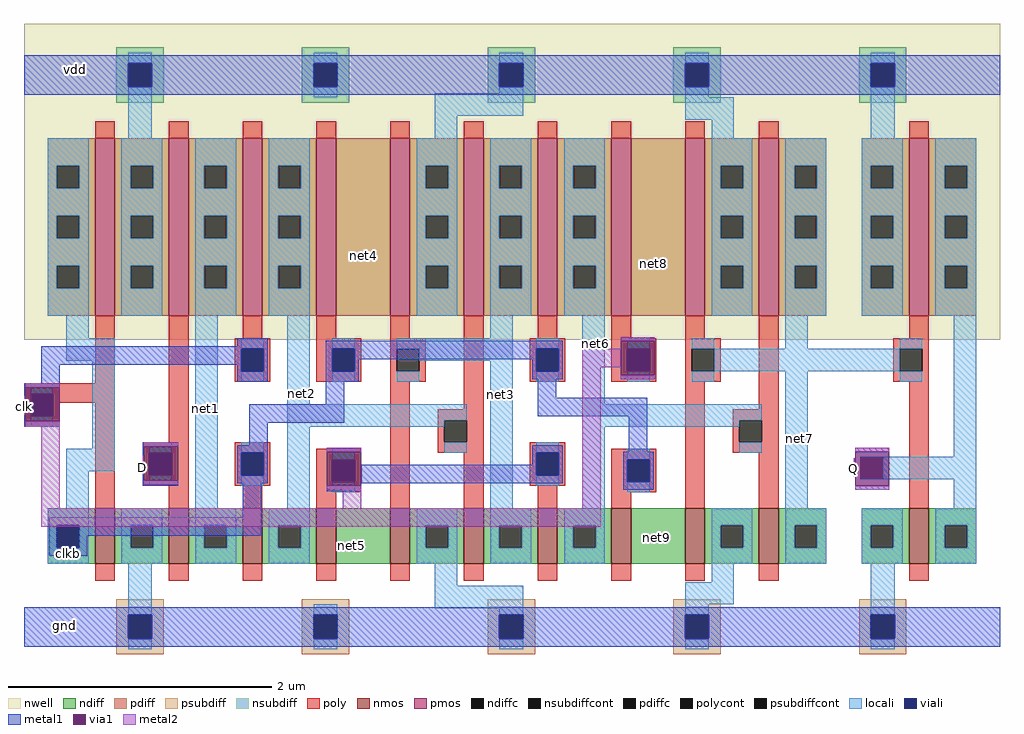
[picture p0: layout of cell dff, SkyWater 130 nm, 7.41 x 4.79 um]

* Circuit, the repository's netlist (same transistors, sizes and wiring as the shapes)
* SPICE3 file created from dff.ext - technology: sky130A


.subckt dff D Q clk vdd gnd
X0 vdd net3 net4 vdd sky130_fd_pr__pfet_01v8 ad=0 pd=0 as=0 ps=0 w=1.35 l=0.15
X1 gnd net3 net5 gnd sky130_fd_pr__nfet_01v8 ad=0 pd=0 as=0 ps=0 w=0.42 l=0.15
X2 net9 clkb net6 gnd sky130_fd_pr__nfet_01v8 ad=0 pd=0 as=0 ps=0 w=0.42 l=0.15
X3 gnd net7 net9 gnd sky130_fd_pr__nfet_01v8 ad=0 pd=0 as=0 ps=0 w=0.42 l=0.15
X4 gnd clk clkb gnd sky130_fd_pr__nfet_01v8 ad=0 pd=0 as=0 ps=0 w=0.42 l=0.15
X5 net6 clk net3 gnd sky130_fd_pr__nfet_01v8 ad=0 pd=0 as=0 ps=0 w=0.42 l=0.15
X6 net3 net2 gnd gnd sky130_fd_pr__nfet_01v8 ad=0 pd=0 as=0 ps=0 w=0.42 l=0.15
X7 net4 clkb net2 vdd sky130_fd_pr__pfet_01v8 ad=0 pd=0 as=0 ps=0 w=1.35 l=0.15
X8 net7 net6 vdd vdd sky130_fd_pr__pfet_01v8 ad=0 pd=0 as=0 ps=0 w=1.35 l=0.15
X9 net7 net6 gnd gnd sky130_fd_pr__nfet_01v8 ad=0 pd=0 as=0 ps=0 w=0.42 l=0.15
X10 net1 D vdd vdd sky130_fd_pr__pfet_01v8 ad=0 pd=0 as=0 ps=0 w=1.35 l=0.15
X11 Q net7 vdd vdd sky130_fd_pr__pfet_01v8 ad=0 pd=0 as=0 ps=0 w=1.35 l=0.15
X12 vdd clk clkb vdd sky130_fd_pr__pfet_01v8 ad=0 pd=0 as=0 ps=0 w=1.35 l=0.15
X13 net2 clk net1 vdd sky130_fd_pr__pfet_01v8 ad=0 pd=0 as=0 ps=0 w=1.35 l=0.15
X14 net8 clk net6 vdd sky130_fd_pr__pfet_01v8 ad=0 pd=0 as=0 ps=0 w=1.35 l=0.15
X15 vdd net7 net8 vdd sky130_fd_pr__pfet_01v8 ad=0 pd=0 as=0 ps=0 w=1.35 l=0.15
X16 net3 net2 vdd vdd sky130_fd_pr__pfet_01v8 ad=0 pd=0 as=0 ps=0 w=1.35 l=0.15
X17 net6 clkb net3 vdd sky130_fd_pr__pfet_01v8 ad=0 pd=0 as=0 ps=0 w=1.35 l=0.15
X18 Q net7 gnd gnd sky130_fd_pr__nfet_01v8 ad=0 pd=0 as=0 ps=0 w=0.42 l=0.15
X19 net5 clk net2 gnd sky130_fd_pr__nfet_01v8 ad=0 pd=0 as=0 ps=0 w=0.42 l=0.15
X20 net1 D gnd gnd sky130_fd_pr__nfet_01v8 ad=0 pd=0 as=0 ps=0 w=0.42 l=0.15
X21 net2 clkb net1 gnd sky130_fd_pr__nfet_01v8 ad=0 pd=0 as=0 ps=0 w=0.42 l=0.15
.ends

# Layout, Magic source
magic
tech sky130A
<< nwell >>
rect 0 218 741 458
<< nmos >>
rect 54 48 69 90
rect 110 48 125 90
rect 166 48 181 90
rect 222 48 237 90
rect 278 48 293 90
rect 334 48 349 90
rect 390 48 405 90
rect 446 48 461 90
rect 502 48 517 90
rect 558 48 573 90
rect 672 48 687 90
<< pmos >>
rect 54 236 69 371
rect 110 236 125 371
rect 166 236 181 371
rect 222 236 237 371
rect 278 236 293 371
rect 334 236 349 371
rect 390 236 405 371
rect 446 236 461 371
rect 502 236 517 371
rect 558 236 573 371
rect 672 236 687 371
<< ndiff >>
rect 18 77 54 90
rect 18 60 25 77
rect 42 60 54 77
rect 18 48 54 60
rect 69 77 110 90
rect 69 60 81 77
rect 98 60 110 77
rect 69 48 110 60
rect 125 77 166 90
rect 125 60 137 77
rect 154 60 166 77
rect 125 48 166 60
rect 181 77 222 90
rect 181 60 193 77
rect 210 60 222 77
rect 181 48 222 60
rect 237 48 278 90
rect 293 77 334 90
rect 293 60 305 77
rect 322 60 334 77
rect 293 48 334 60
rect 349 77 390 90
rect 349 60 361 77
rect 378 60 390 77
rect 349 48 390 60
rect 405 77 446 90
rect 405 60 417 77
rect 434 60 446 77
rect 405 48 446 60
rect 461 48 502 90
rect 517 77 558 90
rect 517 60 529 77
rect 546 60 558 77
rect 517 48 558 60
rect 573 77 609 90
rect 573 60 585 77
rect 602 60 609 77
rect 573 48 609 60
rect 636 77 672 90
rect 636 60 643 77
rect 660 60 672 77
rect 636 48 672 60
rect 687 77 723 90
rect 687 60 699 77
rect 716 60 723 77
rect 687 48 723 60
<< pdiff >>
rect 18 350 54 371
rect 18 333 25 350
rect 42 333 54 350
rect 18 312 54 333
rect 18 295 25 312
rect 42 295 54 312
rect 18 274 54 295
rect 18 257 25 274
rect 42 257 54 274
rect 18 236 54 257
rect 69 350 110 371
rect 69 333 81 350
rect 98 333 110 350
rect 69 312 110 333
rect 69 295 81 312
rect 98 295 110 312
rect 69 274 110 295
rect 69 257 81 274
rect 98 257 110 274
rect 69 236 110 257
rect 125 350 166 371
rect 125 333 137 350
rect 154 333 166 350
rect 125 312 166 333
rect 125 295 137 312
rect 154 295 166 312
rect 125 274 166 295
rect 125 257 137 274
rect 154 257 166 274
rect 125 236 166 257
rect 181 350 222 371
rect 181 333 193 350
rect 210 333 222 350
rect 181 312 222 333
rect 181 295 193 312
rect 210 295 222 312
rect 181 274 222 295
rect 181 257 193 274
rect 210 257 222 274
rect 181 236 222 257
rect 237 236 278 371
rect 293 350 334 371
rect 293 333 305 350
rect 322 333 334 350
rect 293 312 334 333
rect 293 295 305 312
rect 322 295 334 312
rect 293 274 334 295
rect 293 257 305 274
rect 322 257 334 274
rect 293 236 334 257
rect 349 350 390 371
rect 349 333 361 350
rect 378 333 390 350
rect 349 312 390 333
rect 349 295 361 312
rect 378 295 390 312
rect 349 274 390 295
rect 349 257 361 274
rect 378 257 390 274
rect 349 236 390 257
rect 405 350 446 371
rect 405 333 417 350
rect 434 333 446 350
rect 405 312 446 333
rect 405 295 417 312
rect 434 295 446 312
rect 405 274 446 295
rect 405 257 417 274
rect 434 257 446 274
rect 405 236 446 257
rect 461 236 502 371
rect 517 350 558 371
rect 517 333 529 350
rect 546 333 558 350
rect 517 312 558 333
rect 517 295 529 312
rect 546 295 558 312
rect 517 274 558 295
rect 517 257 529 274
rect 546 257 558 274
rect 517 236 558 257
rect 573 350 609 371
rect 573 333 585 350
rect 602 333 609 350
rect 573 312 609 333
rect 573 295 585 312
rect 602 295 609 312
rect 573 274 609 295
rect 573 257 585 274
rect 602 257 609 274
rect 573 236 609 257
rect 636 350 672 371
rect 636 333 643 350
rect 660 333 672 350
rect 636 312 672 333
rect 636 295 643 312
rect 660 295 672 312
rect 636 274 672 295
rect 636 257 643 274
rect 660 257 672 274
rect 636 236 672 257
rect 687 350 723 371
rect 687 333 699 350
rect 716 333 723 350
rect 687 312 723 333
rect 687 295 699 312
rect 716 295 723 312
rect 687 274 723 295
rect 687 257 699 274
rect 716 257 723 274
rect 687 236 723 257
<< ndiffc >>
rect 25 60 42 77
rect 81 60 98 77
rect 137 60 154 77
rect 193 60 210 77
rect 305 60 322 77
rect 361 60 378 77
rect 417 60 434 77
rect 529 60 546 77
rect 585 60 602 77
rect 643 60 660 77
rect 699 60 716 77
<< pdiffc >>
rect 25 333 42 350
rect 25 295 42 312
rect 25 257 42 274
rect 81 333 98 350
rect 81 295 98 312
rect 81 257 98 274
rect 137 333 154 350
rect 137 295 154 312
rect 137 257 154 274
rect 193 333 210 350
rect 193 295 210 312
rect 193 257 210 274
rect 305 333 322 350
rect 305 295 322 312
rect 305 257 322 274
rect 361 333 378 350
rect 361 295 378 312
rect 361 257 378 274
rect 417 333 434 350
rect 417 295 434 312
rect 417 257 434 274
rect 529 333 546 350
rect 529 295 546 312
rect 529 257 546 274
rect 585 333 602 350
rect 585 295 602 312
rect 585 257 602 274
rect 643 333 660 350
rect 643 295 660 312
rect 643 257 660 274
rect 699 333 716 350
rect 699 295 716 312
rect 699 257 716 274
<< psubdiff >>
rect 70 9 106 21
rect 70 -9 79 9
rect 97 -9 106 9
rect 70 -21 106 -9
rect 211 9 247 21
rect 211 -9 220 9
rect 238 -9 247 9
rect 211 -21 247 -9
rect 352 9 388 21
rect 352 -9 361 9
rect 379 -9 388 9
rect 352 -21 388 -9
rect 493 9 529 21
rect 493 -9 502 9
rect 520 -9 529 9
rect 493 -21 529 -9
rect 634 9 670 21
rect 634 -9 643 9
rect 661 -9 670 9
rect 634 -21 670 -9
<< nsubdiff >>
rect 70 428 106 440
rect 70 410 79 428
rect 97 410 106 428
rect 70 398 106 410
rect 211 428 247 440
rect 211 410 220 428
rect 238 410 247 428
rect 211 398 247 410
rect 352 428 388 440
rect 352 410 361 428
rect 379 410 388 428
rect 352 398 388 410
rect 493 428 529 440
rect 493 410 502 428
rect 520 410 529 428
rect 493 398 529 410
rect 634 428 670 440
rect 634 410 643 428
rect 661 410 670 428
rect 634 398 670 410
<< psubdiffcont >>
rect 79 -9 97 9
rect 220 -9 238 9
rect 361 -9 379 9
rect 502 -9 520 9
rect 643 -9 661 9
<< nsubdiffcont >>
rect 79 410 97 428
rect 220 410 238 428
rect 361 410 379 428
rect 502 410 520 428
rect 643 410 661 428
<< poly >>
rect 54 371 69 384
rect 110 371 125 384
rect 166 371 181 384
rect 222 371 237 384
rect 278 371 293 384
rect 334 371 349 384
rect 390 371 405 384
rect 446 371 461 384
rect 502 371 517 384
rect 558 371 573 384
rect 672 371 687 384
rect 54 185 69 236
rect 0 177 69 185
rect 0 160 5 177
rect 22 170 69 177
rect 22 160 27 170
rect 0 152 27 160
rect 54 90 69 170
rect 110 140 125 236
rect 166 219 181 236
rect 222 219 237 236
rect 278 219 293 236
rect 160 211 187 219
rect 160 194 165 211
rect 182 194 187 211
rect 160 186 187 194
rect 222 211 256 219
rect 222 194 234 211
rect 251 194 256 211
rect 222 186 256 194
rect 278 211 305 219
rect 278 194 283 211
rect 300 194 305 211
rect 278 186 305 194
rect 90 132 125 140
rect 90 115 95 132
rect 112 115 125 132
rect 90 107 125 115
rect 160 132 187 140
rect 160 115 165 132
rect 182 115 187 132
rect 160 107 187 115
rect 222 127 256 135
rect 222 110 234 127
rect 251 110 256 127
rect 110 90 125 107
rect 166 90 181 107
rect 222 102 256 110
rect 222 90 237 102
rect 278 90 293 186
rect 334 165 349 236
rect 390 219 405 236
rect 446 219 461 236
rect 502 219 517 236
rect 384 211 411 219
rect 384 194 389 211
rect 406 194 411 211
rect 384 186 411 194
rect 446 211 480 219
rect 446 194 458 211
rect 475 194 480 211
rect 446 186 480 194
rect 502 211 529 219
rect 502 194 507 211
rect 524 194 529 211
rect 502 186 529 194
rect 314 157 349 165
rect 314 140 319 157
rect 336 140 349 157
rect 314 132 349 140
rect 334 90 349 132
rect 384 132 411 140
rect 384 115 389 132
rect 406 115 411 132
rect 384 107 411 115
rect 446 127 480 135
rect 446 110 458 127
rect 475 110 480 127
rect 390 90 405 107
rect 446 102 480 110
rect 446 90 461 102
rect 502 90 517 186
rect 558 165 573 236
rect 672 219 687 236
rect 660 211 687 219
rect 660 194 665 211
rect 682 194 687 211
rect 660 186 687 194
rect 538 157 573 165
rect 538 140 543 157
rect 560 140 573 157
rect 538 132 573 140
rect 558 90 573 132
rect 672 90 687 186
rect 54 35 69 48
rect 110 35 125 48
rect 166 35 181 48
rect 222 35 237 48
rect 278 35 293 48
rect 334 35 349 48
rect 390 35 405 48
rect 446 35 461 48
rect 502 35 517 48
rect 558 35 573 48
rect 672 35 687 48
<< polycont >>
rect 5 160 22 177
rect 165 194 182 211
rect 234 194 251 211
rect 283 194 300 211
rect 95 115 112 132
rect 165 115 182 132
rect 234 110 251 127
rect 389 194 406 211
rect 458 194 475 211
rect 507 194 524 211
rect 319 140 336 157
rect 389 115 406 132
rect 458 110 475 127
rect 665 194 682 211
rect 543 140 560 157
<< locali >>
rect 79 428 97 436
rect 79 371 97 410
rect 220 428 238 436
rect 220 402 238 410
rect 361 428 379 436
rect 361 405 379 410
rect 312 388 379 405
rect 502 428 520 436
rect 502 402 520 410
rect 643 428 661 436
rect 312 371 329 388
rect 502 385 539 402
rect 522 371 539 385
rect 643 371 661 410
rect 18 350 49 371
rect 18 333 25 350
rect 42 333 49 350
rect 18 312 49 333
rect 18 295 25 312
rect 42 295 49 312
rect 18 274 49 295
rect 18 257 25 274
rect 42 257 49 274
rect 18 236 49 257
rect 74 350 105 371
rect 74 333 81 350
rect 98 333 105 350
rect 74 312 105 333
rect 74 295 81 312
rect 98 295 105 312
rect 74 274 105 295
rect 74 257 81 274
rect 98 257 105 274
rect 74 236 105 257
rect 130 350 161 371
rect 130 333 137 350
rect 154 333 161 350
rect 130 312 161 333
rect 130 295 137 312
rect 154 295 161 312
rect 130 274 161 295
rect 130 257 137 274
rect 154 257 161 274
rect 130 236 161 257
rect 186 350 217 371
rect 186 333 193 350
rect 210 333 217 350
rect 186 312 217 333
rect 186 295 193 312
rect 210 295 217 312
rect 186 274 217 295
rect 186 257 193 274
rect 210 257 217 274
rect 186 236 217 257
rect 298 350 329 371
rect 298 333 305 350
rect 322 333 329 350
rect 298 312 329 333
rect 298 295 305 312
rect 322 295 329 312
rect 298 274 329 295
rect 298 257 305 274
rect 322 257 329 274
rect 298 236 329 257
rect 354 350 385 371
rect 354 333 361 350
rect 378 333 385 350
rect 354 312 385 333
rect 354 295 361 312
rect 378 295 385 312
rect 354 274 385 295
rect 354 257 361 274
rect 378 257 385 274
rect 354 236 385 257
rect 410 350 441 371
rect 410 333 417 350
rect 434 333 441 350
rect 410 312 441 333
rect 410 295 417 312
rect 434 295 441 312
rect 410 274 441 295
rect 410 257 417 274
rect 434 257 441 274
rect 410 236 441 257
rect 522 350 553 371
rect 522 333 529 350
rect 546 333 553 350
rect 522 312 553 333
rect 522 295 529 312
rect 546 295 553 312
rect 522 274 553 295
rect 522 257 529 274
rect 546 257 553 274
rect 522 236 553 257
rect 578 350 609 371
rect 578 333 585 350
rect 602 333 609 350
rect 578 312 609 333
rect 578 295 585 312
rect 602 295 609 312
rect 578 274 609 295
rect 578 257 585 274
rect 602 257 609 274
rect 578 236 609 257
rect 636 350 667 371
rect 636 333 643 350
rect 660 333 667 350
rect 636 312 667 333
rect 636 295 643 312
rect 660 295 667 312
rect 636 274 667 295
rect 636 257 643 274
rect 660 257 667 274
rect 636 236 667 257
rect 692 350 723 371
rect 692 333 699 350
rect 716 333 723 350
rect 692 312 723 333
rect 692 295 699 312
rect 716 295 723 312
rect 692 274 723 295
rect 692 257 699 274
rect 716 257 723 274
rect 692 236 723 257
rect 32 219 49 236
rect 32 202 69 219
rect 5 177 22 185
rect 5 152 22 160
rect 52 135 69 202
rect 32 118 69 135
rect 95 132 112 140
rect 32 90 49 118
rect 95 107 112 115
rect 130 90 147 236
rect 165 211 182 219
rect 165 186 182 194
rect 200 169 217 236
rect 354 219 371 236
rect 234 211 251 219
rect 234 186 251 194
rect 283 211 371 219
rect 300 202 371 211
rect 283 186 300 194
rect 200 157 336 169
rect 200 152 319 157
rect 165 132 182 140
rect 165 107 182 115
rect 200 90 217 152
rect 234 127 251 135
rect 319 132 336 140
rect 234 102 251 110
rect 354 90 371 202
rect 389 211 406 219
rect 389 186 406 194
rect 424 169 441 236
rect 458 211 475 219
rect 458 186 475 194
rect 507 211 524 219
rect 578 211 595 236
rect 665 211 682 219
rect 524 194 665 211
rect 507 186 524 194
rect 424 157 560 169
rect 424 152 543 157
rect 389 132 406 140
rect 389 107 406 115
rect 424 90 441 152
rect 458 127 475 135
rect 543 132 560 140
rect 458 102 475 110
rect 578 90 595 194
rect 665 186 682 194
rect 706 129 723 236
rect 652 112 723 129
rect 706 90 723 112
rect 18 77 49 90
rect 18 60 25 77
rect 42 60 49 77
rect 18 48 49 60
rect 74 77 105 90
rect 74 60 81 77
rect 98 60 105 77
rect 74 48 105 60
rect 130 77 161 90
rect 130 60 137 77
rect 154 60 161 77
rect 130 48 161 60
rect 186 77 217 90
rect 186 60 193 77
rect 210 60 217 77
rect 186 48 217 60
rect 298 77 329 90
rect 298 60 305 77
rect 322 60 329 77
rect 298 48 329 60
rect 354 77 385 90
rect 354 60 361 77
rect 378 60 385 77
rect 354 48 385 60
rect 410 77 441 90
rect 410 60 417 77
rect 434 60 441 77
rect 410 48 441 60
rect 522 77 553 90
rect 522 60 529 77
rect 546 60 553 77
rect 522 48 553 60
rect 578 77 609 90
rect 578 60 585 77
rect 602 60 609 77
rect 578 48 609 60
rect 636 77 667 90
rect 636 60 643 77
rect 660 60 667 77
rect 636 48 667 60
rect 692 77 723 90
rect 692 60 699 77
rect 716 60 723 77
rect 692 48 723 60
rect 79 9 97 48
rect 312 31 329 48
rect 522 34 539 48
rect 79 -17 97 -9
rect 220 9 238 17
rect 312 14 379 31
rect 220 -17 238 -9
rect 361 9 379 14
rect 361 -17 379 -9
rect 502 17 539 34
rect 502 9 520 17
rect 502 -17 520 -9
rect 643 9 661 48
rect 643 -17 661 -9
<< viali >>
rect 79 410 97 428
rect 220 410 238 428
rect 361 410 379 428
rect 502 410 520 428
rect 643 410 661 428
rect 5 160 22 177
rect 95 115 112 132
rect 165 194 182 211
rect 234 194 251 211
rect 165 115 182 132
rect 234 110 251 127
rect 389 194 406 211
rect 458 194 475 211
rect 389 115 406 132
rect 458 110 475 127
rect 635 112 652 129
rect 25 60 42 77
rect 79 -9 97 9
rect 220 -9 238 9
rect 361 -9 379 9
rect 502 -9 520 9
rect 643 -9 661 9
<< metal1 >>
rect 0 428 741 434
rect 0 410 79 428
rect 97 410 220 428
rect 238 410 361 428
rect 379 410 502 428
rect 520 410 643 428
rect 661 410 741 428
rect 0 404 741 410
rect 162 213 185 219
rect 453 217 479 220
rect 13 211 185 213
rect 13 199 165 211
rect 13 185 27 199
rect 162 194 165 199
rect 182 194 185 211
rect 162 186 185 194
rect 229 211 409 217
rect 229 194 234 211
rect 251 203 389 211
rect 251 194 254 203
rect 229 186 254 194
rect 386 194 389 203
rect 406 194 409 211
rect 386 188 409 194
rect 453 188 479 191
rect 0 182 27 185
rect 0 156 1 182
rect 229 169 243 186
rect 0 152 27 156
rect 171 155 243 169
rect 390 174 404 188
rect 390 160 473 174
rect 90 137 117 140
rect 171 138 185 155
rect 90 111 91 137
rect 90 107 117 111
rect 162 132 185 138
rect 162 115 165 132
rect 182 115 185 132
rect 162 109 185 115
rect 230 133 256 136
rect 386 132 409 138
rect 459 133 473 160
rect 631 133 657 136
rect 386 123 389 132
rect 256 115 389 123
rect 406 115 409 132
rect 166 83 180 109
rect 256 109 409 115
rect 455 127 478 133
rect 455 110 458 127
rect 475 110 478 127
rect 230 103 256 107
rect 455 104 478 110
rect 631 104 657 107
rect 19 77 180 83
rect 19 60 25 77
rect 42 69 180 77
rect 42 60 48 69
rect 19 54 48 60
rect 0 9 741 15
rect 0 -9 79 9
rect 97 -9 220 9
rect 238 -9 361 9
rect 379 -9 502 9
rect 520 -9 643 9
rect 661 -9 741 9
rect 0 -15 741 -9
<< via1 >>
rect 453 211 479 217
rect 453 194 458 211
rect 458 194 475 211
rect 475 194 479 211
rect 453 191 479 194
rect 1 177 27 182
rect 1 160 5 177
rect 5 160 22 177
rect 22 160 27 177
rect 1 156 27 160
rect 91 132 117 137
rect 91 115 95 132
rect 95 115 112 132
rect 112 115 117 132
rect 91 111 117 115
rect 230 127 256 133
rect 230 110 234 127
rect 234 110 251 127
rect 251 110 256 127
rect 230 107 256 110
rect 631 129 657 133
rect 631 112 635 129
rect 635 112 652 129
rect 652 112 657 129
rect 631 107 657 112
<< metal2 >>
rect 453 217 479 220
rect 424 197 453 211
rect 1 182 27 185
rect 0 161 1 175
rect 1 152 27 156
rect 13 90 27 152
rect 91 137 117 140
rect 90 116 91 130
rect 91 108 117 111
rect 230 133 256 136
rect 230 104 256 107
rect 242 90 256 104
rect 424 90 438 197
rect 453 188 479 191
rect 631 133 657 136
rect 630 114 631 128
rect 631 104 657 107
rect 13 76 438 90
<< labels >>
flabel metal2 0 167 0 167 0 FreeSans 80 0 0 0 clk
port 2 nsew
flabel metal1 39 423 39 423 0 FreeSans 80 0 0 0 vdd
port 3 nsew
flabel metal1 31 1 31 1 0 FreeSans 80 0 0 0 gnd
port 4 nsew
flabel metal1 34 56 34 56 0 FreeSans 80 0 0 0 clkb
flabel locali 138 166 138 166 0 FreeSans 80 0 0 0 net1
flabel locali 211 177 211 177 0 FreeSans 80 0 0 0 net2
flabel pdiff 258 282 258 282 0 FreeSans 80 0 0 0 net4
flabel ndiff 249 62 249 62 0 FreeSans 80 0 0 0 net5
flabel locali 362 176 362 176 0 FreeSans 80 0 0 0 net3
flabel locali 434 215 434 215 0 FreeSans 80 0 0 0 net6
flabel locali 589 143 589 143 0 FreeSans 80 0 0 0 net7
flabel pdiff 478 276 478 276 0 FreeSans 80 0 0 0 net8
flabel ndiff 480 68 480 68 0 FreeSans 80 0 0 0 net9
flabel metal2 90 121 90 121 0 FreeSans 80 0 0 0 D
port 7 nsew
flabel metal2 630 120 630 120 0 FreeSans 80 0 0 0 Q
port 8 nsew
<< properties >>
string FIXED_BBOX 0 0 741 419
<< end >>
